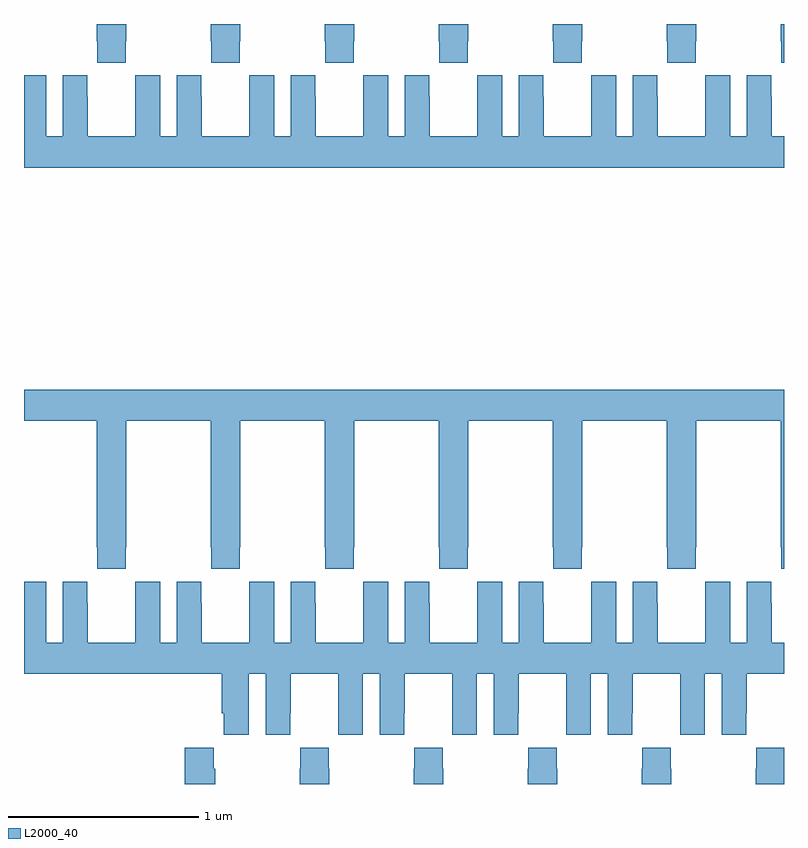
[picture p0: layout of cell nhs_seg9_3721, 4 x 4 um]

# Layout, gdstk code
import gdstk
lib = gdstk.Library(unit=1e-6, precision=1e-09)
def P(c, l, *ps):  # polygons
    for p in ps: c.add(gdstk.Polygon(p, *l))
L2000_40 = (2000, 40)

nhs_seg9_3721 = lib.new_cell('nhs_seg9_3721')
P(nhs_seg9_3721, L2000_40, [(324.135,1206.409),(324.138,1206.409),(324.138,1206.5),(323.983,1206.5),(323.983,1206.409),(323.985,1206.409),(323.985,1206.297),(324.135,1206.297)],
  [(324.735,1206.409),(324.738,1206.409),(324.738,1206.5),(324.583,1206.5),(324.583,1206.409),(324.585,1206.409),(324.585,1206.297),(324.735,1206.297)],
  [(325.335,1206.409),(325.338,1206.409),(325.338,1206.5),(325.183,1206.5),(325.183,1206.409),(325.185,1206.409),(325.185,1206.297),(325.335,1206.297)],
  [(325.935,1206.409),(325.938,1206.409),(325.938,1206.5),(325.783,1206.5),(325.783,1206.409),(325.785,1206.409),(325.785,1206.297),(325.935,1206.297)],
  [(326.535,1206.409),(326.538,1206.409),(326.538,1206.5),(326.383,1206.5),(326.383,1206.409),(326.385,1206.409),(326.385,1206.297),(326.535,1206.297)],
  [(327,1206.5),(326.983,1206.5),(326.983,1206.409),(326.985,1206.409),(326.985,1206.297),(327,1206.297)],
  [(323.535,1206.409),(323.538,1206.409),(323.538,1206.5),(323.383,1206.5),(323.383,1206.409),(323.385,1206.409),(323.385,1206.297),(323.535,1206.297)],
  [(327,1205.908),(326.935,1205.908),(326.935,1206.116),(326.934,1206.116),(326.934,1206.229),(326.804,1206.229),(326.804,1205.908),(326.716,1205.908),(326.716,1206.229),(326.586,1206.229),(326.586,1206.116),(326.585,1206.116),(326.585,1205.908),(326.335,1205.908),(326.335,1206.116),(326.334,1206.116),(326.334,1206.229),(326.204,1206.229),(326.204,1205.908),(326.116,1205.908),(326.116,1206.229),(325.986,1206.229),(325.986,1206.116),(325.985,1206.116),(325.985,1205.908),(325.735,1205.908),(325.735,1206.116),(325.734,1206.116),(325.734,1206.229),(325.604,1206.229),(325.604,1205.908),(325.516,1205.908),(325.516,1206.229),(325.386,1206.229),(325.386,1206.116),(325.385,1206.116),(325.385,1205.908),(325.135,1205.908),(325.135,1206.116),(325.134,1206.116),(325.134,1206.229),(325.004,1206.229),(325.004,1205.908),(324.916,1205.908),(324.916,1206.229),(324.786,1206.229),(324.786,1206.116),(324.785,1206.116),(324.785,1205.908),(324.535,1205.908),(324.535,1206.116),(324.534,1206.116),(324.534,1206.229),(324.404,1206.229),(324.404,1205.908),(324.316,1205.908),(324.316,1206.229),(324.186,1206.229),(324.186,1206.116),(324.185,1206.116),(324.185,1205.908),(323.935,1205.908),(323.935,1206.116),(323.934,1206.116),(323.934,1206.229),(323.804,1206.229),(323.804,1205.908),(323.716,1205.908),(323.716,1206.229),(323.586,1206.229),(323.586,1206.116),(323.585,1206.116),(323.585,1205.908),(323.335,1205.908),(323.335,1206.116),(323.334,1206.116),(323.334,1206.229),(323.204,1206.229),(323.204,1205.908),(323.116,1205.908),(323.116,1206.229),(323,1206.229),(323,1205.744),(327,1205.744)],
  [(323.535,1203.745),(323.538,1203.745),(323.538,1204.412),(323.983,1204.412),(323.983,1203.745),(323.985,1203.745),(323.985,1203.633),(324.135,1203.633),(324.135,1203.745),(324.138,1203.745),(324.138,1204.412),(324.583,1204.412),(324.583,1203.745),(324.585,1203.745),(324.585,1203.633),(324.735,1203.633),(324.735,1203.745),(324.738,1203.745),(324.738,1204.412),(325.183,1204.412),(325.183,1203.745),(325.185,1203.745),(325.185,1203.633),(325.335,1203.633),(325.335,1203.745),(325.338,1203.745),(325.338,1204.412),(325.783,1204.412),(325.783,1203.745),(325.785,1203.745),(325.785,1203.633),(325.935,1203.633),(325.935,1203.745),(325.938,1203.745),(325.938,1204.412),(326.383,1204.412),(326.383,1203.745),(326.385,1203.745),(326.385,1203.633),(326.535,1203.633),(326.535,1203.745),(326.538,1203.745),(326.538,1204.412),(326.983,1204.412),(326.983,1203.745),(326.985,1203.745),(326.985,1203.633),(327,1203.633),(327,1204.576),(323,1204.576),(323,1204.412),(323.383,1204.412),(323.383,1203.745),(323.385,1203.745),(323.385,1203.633),(323.535,1203.633)],
  [(324.184,1203.08),(324.272,1203.08),(324.272,1202.76),(324.402,1202.76),(324.402,1202.872),(324.403,1202.872),(324.403,1203.08),(324.653,1203.08),(324.653,1202.872),(324.654,1202.872),(324.654,1202.76),(324.784,1202.76),(324.784,1203.08),(324.872,1203.08),(324.872,1202.76),(325.002,1202.76),(325.002,1202.872),(325.003,1202.872),(325.003,1203.08),(325.253,1203.08),(325.253,1202.872),(325.254,1202.872),(325.254,1202.76),(325.384,1202.76),(325.384,1203.08),(325.472,1203.08),(325.472,1202.76),(325.602,1202.76),(325.602,1202.872),(325.603,1202.872),(325.603,1203.08),(325.853,1203.08),(325.853,1202.872),(325.854,1202.872),(325.854,1202.76),(325.984,1202.76),(325.984,1203.08),(326.072,1203.08),(326.072,1202.76),(326.202,1202.76),(326.202,1202.872),(326.203,1202.872),(326.203,1203.08),(326.453,1203.08),(326.453,1202.872),(326.454,1202.872),(326.454,1202.76),(326.584,1202.76),(326.584,1203.08),(326.672,1203.08),(326.672,1202.76),(326.802,1202.76),(326.802,1202.872),(326.803,1202.872),(326.803,1203.08),(327,1203.08),(327,1203.244),(326.935,1203.244),(326.935,1203.452),(326.934,1203.452),(326.934,1203.565),(326.804,1203.565),(326.804,1203.244),(326.716,1203.244),(326.716,1203.565),(326.586,1203.565),(326.586,1203.452),(326.585,1203.452),(326.585,1203.244),(326.335,1203.244),(326.335,1203.452),(326.334,1203.452),(326.334,1203.565),(326.204,1203.565),(326.204,1203.244),(326.116,1203.244),(326.116,1203.565),(325.986,1203.565),(325.986,1203.452),(325.985,1203.452),(325.985,1203.244),(325.735,1203.244),(325.735,1203.452),(325.734,1203.452),(325.734,1203.565),(325.604,1203.565),(325.604,1203.244),(325.516,1203.244),(325.516,1203.565),(325.386,1203.565),(325.386,1203.452),(325.385,1203.452),(325.385,1203.244),(325.135,1203.244),(325.135,1203.452),(325.134,1203.452),(325.134,1203.565),(325.004,1203.565),(325.004,1203.244),(324.916,1203.244),(324.916,1203.565),(324.786,1203.565),(324.786,1203.452),(324.785,1203.452),(324.785,1203.244),(324.535,1203.244),(324.535,1203.452),(324.534,1203.452),(324.534,1203.565),(324.404,1203.565),(324.404,1203.244),(324.316,1203.244),(324.316,1203.565),(324.186,1203.565),(324.186,1203.452),(324.185,1203.452),(324.185,1203.244),(323.935,1203.244),(323.935,1203.452),(323.934,1203.452),(323.934,1203.565),(323.804,1203.565),(323.804,1203.244),(323.716,1203.244),(323.716,1203.565),(323.586,1203.565),(323.586,1203.452),(323.585,1203.452),(323.585,1203.244),(323.335,1203.244),(323.335,1203.452),(323.334,1203.452),(323.334,1203.565),(323.204,1203.565),(323.204,1203.244),(323.116,1203.244),(323.116,1203.565),(323,1203.565),(323,1203.08),(324.041,1203.08),(324.041,1202.872),(324.05,1202.872),(324.05,1202.76),(324.184,1202.76)],
  [(325.206,1202.579),(325.203,1202.579),(325.203,1202.692),(325.053,1202.692),(325.053,1202.579),(325.051,1202.579),(325.051,1202.5),(325.206,1202.5)],
  [(325.806,1202.579),(325.803,1202.579),(325.803,1202.692),(325.653,1202.692),(325.653,1202.579),(325.651,1202.579),(325.651,1202.5),(325.806,1202.5)],
  [(326.406,1202.579),(326.403,1202.579),(326.403,1202.692),(326.253,1202.692),(326.253,1202.579),(326.251,1202.579),(326.251,1202.5),(326.406,1202.5)],
  [(324.606,1202.579),(324.603,1202.579),(324.603,1202.692),(324.453,1202.692),(324.453,1202.579),(324.451,1202.579),(324.451,1202.5),(324.606,1202.5)],
  [(324.006,1202.579),(323.999,1202.579),(323.999,1202.692),(323.846,1202.692),(323.846,1202.5),(324.006,1202.5)],
  [(327,1202.692),(326.853,1202.692),(326.853,1202.579),(326.851,1202.579),(326.851,1202.5),(327,1202.5)])

lib.write_gds('nhs_seg9_3721.gds')
